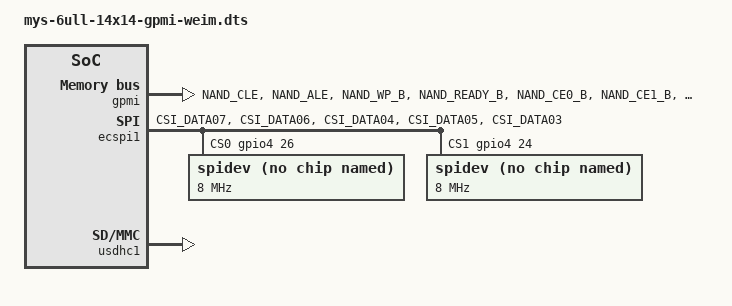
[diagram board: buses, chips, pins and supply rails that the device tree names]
// SPDX-License-Identifier: GPL-2.0
//
// Copyright (C) 2016 Freescale Semiconductor, Inc.

#include "mys-6ull-14x14.dts"

&gpmi {
	pinctrl-names = "default";
	pinctrl-0 = <&pinctrl_gpmi_nand_1>;
	status = "okay";
	nand-on-flash-bbt;
};

&iomuxc {
	pinctrl_gpmi_nand_1: gpmi-nand-1 {
		fsl,pins = <
			MX6UL_PAD_NAND_CLE__RAWNAND_CLE         0xb0b1
			MX6UL_PAD_NAND_ALE__RAWNAND_ALE         0xb0b1
			MX6UL_PAD_NAND_WP_B__RAWNAND_WP_B       0xb0b1
			MX6UL_PAD_NAND_READY_B__RAWNAND_READY_B 0xb000
			MX6UL_PAD_NAND_CE0_B__RAWNAND_CE0_B     0xb0b1
			MX6UL_PAD_NAND_CE1_B__RAWNAND_CE1_B     0xb0b1
			MX6UL_PAD_NAND_RE_B__RAWNAND_RE_B       0xb0b1
			MX6UL_PAD_NAND_WE_B__RAWNAND_WE_B       0xb0b1
			MX6UL_PAD_NAND_DATA00__RAWNAND_DATA00   0xb0b1
			MX6UL_PAD_NAND_DATA01__RAWNAND_DATA01   0xb0b1
			MX6UL_PAD_NAND_DATA02__RAWNAND_DATA02   0xb0b1
			MX6UL_PAD_NAND_DATA03__RAWNAND_DATA03   0xb0b1
			MX6UL_PAD_NAND_DATA04__RAWNAND_DATA04   0xb0b1
			MX6UL_PAD_NAND_DATA05__RAWNAND_DATA05   0xb0b1
			MX6UL_PAD_NAND_DATA06__RAWNAND_DATA06   0xb0b1
			MX6UL_PAD_NAND_DATA07__RAWNAND_DATA07   0xb0b1
		>;
	};

	// modified - added
	
	pinctrl_ecspi1: ecspi1grp {
		fsl,pins = <
			MX6UL_PAD_CSI_DATA07__ECSPI1_MISO 0x100b1
			MX6UL_PAD_CSI_DATA06__ECSPI1_MOSI 0x100b1
			MX6UL_PAD_CSI_DATA04__ECSPI1_SCLK 0x100b1
		>;
	};
	
	pinctrl_ecspi1_cs: ecspi1cs {
		fsl,pins = <
			MX6UL_PAD_CSI_DATA05__GPIO4_IO26 0x80000000 //CS0
			MX6UL_PAD_CSI_DATA03__GPIO4_IO24 0x80000000 //CS1
		>;
	};
};

&qspi {
	status = "disabled";
};

&usdhc2 {
	status = "disabled";
};

// modified - added
&ecspi1 {
	fsl,spi-num-chipselects = <2>;
    cs-gpios = <&gpio4 26 0>, <&gpio4 24 0>; 
    pinctrl-names = "default";
    pinctrl-0 = <&pinctrl_ecspi1 &pinctrl_ecspi1_cs>;
    status = "okay";

    spidev@0 {
        compatible = "rohm,dh2228fv";
        spi-max-frequency = <8000000>;
        reg = <0>;
    };

	spidev@1 {
        compatible = "rohm,dh2228fv";
        spi-max-frequency = <8000000>;
        reg = <1>;
    };
};

&codec {
    status = "disabled";
};

&ethphy1 {
	status = "disabled";
};

&ov2659 {
    status = "disabled";
};

&ft5x06 {
	status = "disabled";
};

&usdhc1 {
	status = "okay";
};

&lcdif{
	status = "disabled";
};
